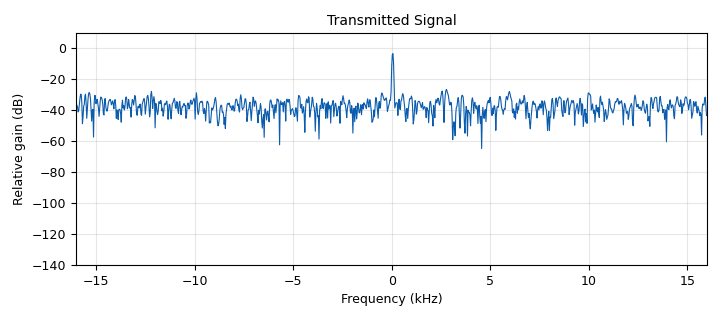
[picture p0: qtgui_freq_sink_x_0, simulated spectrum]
<?xml version='1.0' encoding='utf-8'?>
<?grc format='1' created='3.7.9'?>
<flow_graph>
<block>
<key>options</key>
<param><key>id</key><value>top_block</value></param>
<param><key>category</key><value>Custom</value></param>
<param><key>generate_options</key><value>qt_gui</value></param>
</block>
<block>
<key>variable_qtgui_range</key>
<param><key>id</key><value>f1</value></param>
<param><key>value</key><value>50</value></param>
<param><key>gui_hint</key><value>1,0,1,1</value></param>
<param><key>orient</key><value>Qt.Horizontal</value></param>
<param><key>start</key><value>10</value></param>
<param><key>step</key><value>1</value></param>
<param><key>stop</key><value>20000</value></param>
</block>
<block>
<key>variable_qtgui_range</key>
<param><key>id</key><value>f2</value></param>
<param><key>value</key><value>50</value></param>
<param><key>gui_hint</key><value>2,0,1,1</value></param>
<param><key>orient</key><value>Qt.Horizontal</value></param>
<param><key>start</key><value>10</value></param>
<param><key>step</key><value>1</value></param>
<param><key>stop</key><value>20000</value></param>
</block>
<block>
<key>variable</key>
<param><key>id</key><value>samp_rate</value></param>
<param><key>value</key><value>32000</value></param>
</block>
<block>
<key>analog_noise_source_x</key>
<param><key>id</key><value>analog_noise_source_x_0</value></param>
<param><key>amp</key><value>1</value></param>
<param><key>noise_type</key><value>analog.GR_GAUSSIAN</value></param>
<param><key>type</key><value>complex</value></param>
<param><key>seed</key><value>-42</value></param>
</block>
<block>
<key>analog_sig_source_x</key>
<param><key>id</key><value>analog_sig_source_x_0</value></param>
<param><key>amp</key><value>1</value></param>
<param><key>freq</key><value>f1</value></param>
<param><key>offset</key><value>0</value></param>
<param><key>type</key><value>complex</value></param>
<param><key>samp_rate</key><value>samp_rate</value></param>
<param><key>waveform</key><value>analog.GR_COS_WAVE</value></param>
</block>
<block>
<key>analog_sig_source_x</key>
<param><key>id</key><value>analog_sig_source_x_1</value></param>
<param><key>amp</key><value>1</value></param>
<param><key>freq</key><value>f2</value></param>
<param><key>offset</key><value>0</value></param>
<param><key>type</key><value>complex</value></param>
<param><key>samp_rate</key><value>samp_rate</value></param>
<param><key>waveform</key><value>analog.GR_COS_WAVE</value></param>
</block>
<block>
<key>blocks_add_xx</key>
<param><key>id</key><value>blocks_add_xx_0</value></param>
<param><key>type</key><value>complex</value></param>
<param><key>num_inputs</key><value>3</value></param>
</block>
<block>
<key>qtgui_freq_sink_x</key>
<param><key>id</key><value>qtgui_freq_sink_x_0</value></param>
<param><key>bw</key><value>samp_rate</value></param>
<param><key>fc</key><value>0</value></param>
<param><key>fftsize</key><value>1024</value></param>
<param><key>gui_hint</key><value>3,0,1,1</value></param>
<param><key>name</key><value>"Transmitted Signal"</value></param>
<param><key>showports</key><value>True</value></param>
<param><key>type</key><value>complex</value></param>
<param><key>wintype</key><value>firdes.WIN_BLACKMAN_hARRIS</value></param>
</block>
<block>
<key>qtgui_freq_sink_x</key>
<param><key>id</key><value>qtgui_freq_sink_x_0_0</value></param>
<param><key>bw</key><value>samp_rate</value></param>
<param><key>fc</key><value>0</value></param>
<param><key>fftsize</key><value>1024</value></param>
<param><key>gui_hint</key><value>4,0,1,1</value></param>
<param><key>name</key><value>"Recieved Signal"</value></param>
<param><key>showports</key><value>True</value></param>
<param><key>type</key><value>complex</value></param>
<param><key>wintype</key><value>firdes.WIN_BLACKMAN_hARRIS</value></param>
</block>
<block>
<key>uhd_usrp_sink</key>
<param><key>id</key><value>uhd_usrp_sink_0</value></param>
<param><key>ant0</key><value>TX/RX</value></param>
<param><key>bw0</key><value>samp_rate</value></param>
<param><key>center_freq0</key><value>2.4e9</value></param>
<param><key>norm_gain0</key><value>False</value></param>
<param><key>gain0</key><value>50</value></param>
<param><key>clock_rate</key><value>0.0</value></param>
<param><key>dev_args</key><value>""</value></param>
<param><key>type</key><value>fc32</value></param>
<param><key>samp_rate</key><value>samp_rate</value></param>
<param><key>hide_cmd_port</key><value>False</value></param>
<param><key>sync</key><value></value></param>
<param><key>len_tag_name</key><value></value></param>
</block>
<block>
<key>uhd_usrp_source</key>
<param><key>id</key><value>uhd_usrp_source_0</value></param>
<param><key>ant0</key><value>RX2</value></param>
<param><key>bw0</key><value>samp_rate</value></param>
<param><key>center_freq0</key><value>2.5e9</value></param>
<param><key>dc_offs_enb0</key><value>""</value></param>
<param><key>iq_imbal_enb0</key><value>""</value></param>
<param><key>norm_gain0</key><value>False</value></param>
<param><key>gain0</key><value>80</value></param>
<param><key>clock_rate</key><value>0.0</value></param>
<param><key>dev_args</key><value>""</value></param>
<param><key>type</key><value>fc32</value></param>
<param><key>samp_rate</key><value>samp_rate</value></param>
<param><key>hide_cmd_port</key><value>False</value></param>
<param><key>sync</key><value></value></param>
</block>
<connection><source_block_id>analog_noise_source_x_0</source_block_id><sink_block_id>blocks_add_xx_0</sink_block_id><source_key>0</source_key><sink_key>2</sink_key></connection>
<connection><source_block_id>analog_sig_source_x_0</source_block_id><sink_block_id>blocks_add_xx_0</sink_block_id><source_key>0</source_key><sink_key>0</sink_key></connection>
<connection><source_block_id>analog_sig_source_x_1</source_block_id><sink_block_id>blocks_add_xx_0</sink_block_id><source_key>0</source_key><sink_key>1</sink_key></connection>
<connection><source_block_id>blocks_add_xx_0</source_block_id><sink_block_id>qtgui_freq_sink_x_0</sink_block_id><source_key>0</source_key><sink_key>0</sink_key></connection>
<connection><source_block_id>blocks_add_xx_0</source_block_id><sink_block_id>uhd_usrp_sink_0</sink_block_id><source_key>0</source_key><sink_key>0</sink_key></connection>
<connection><source_block_id>uhd_usrp_source_0</source_block_id><sink_block_id>qtgui_freq_sink_x_0_0</sink_block_id><source_key>0</source_key><sink_key>0</sink_key></connection>
</flow_graph>
